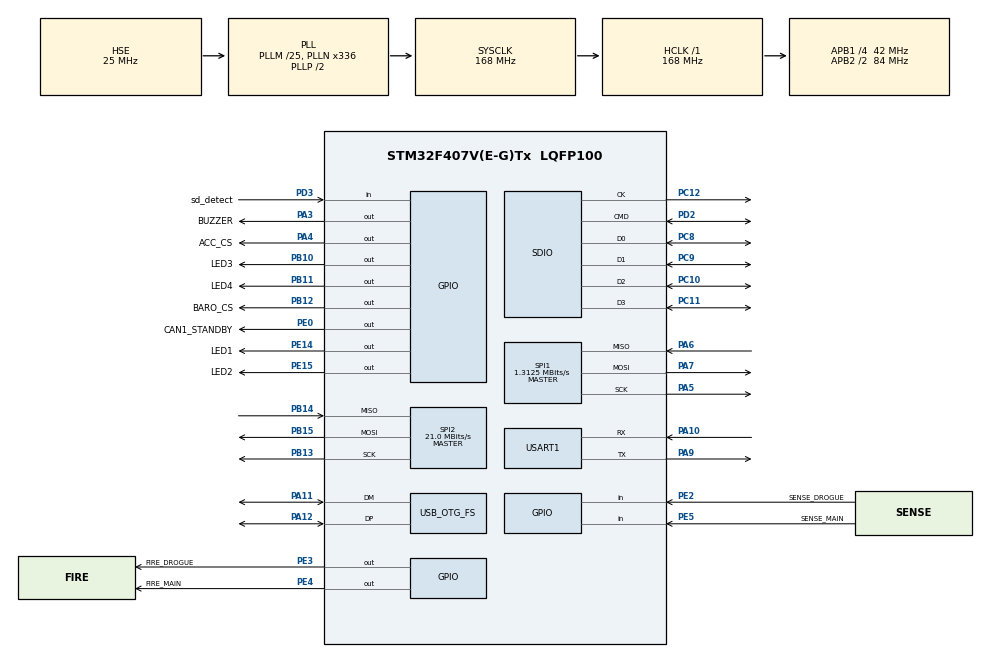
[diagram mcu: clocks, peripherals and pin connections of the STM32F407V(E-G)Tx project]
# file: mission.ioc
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Dma.Request0=SDIO_RX
Dma.Request1=SDIO_TX
Dma.SDIO_RX.0.Direction=DMA_PERIPH_TO_MEMORY
Dma.SDIO_RX.0.FIFOMode=DMA_FIFOMODE_ENABLE
Dma.SDIO_RX.0.FIFOThreshold=DMA_FIFO_THRESHOLD_FULL
Dma.SDIO_RX.0.Instance=DMA2_Stream3
Dma.SDIO_RX.0.MemBurst=DMA_MBURST_INC4
Dma.SDIO_RX.0.MemDataAlignment=DMA_MDATAALIGN_BYTE
Dma.SDIO_RX.0.MemInc=DMA_MINC_ENABLE
Dma.SDIO_RX.0.Mode=DMA_PFCTRL
Dma.SDIO_RX.0.PeriphBurst=DMA_PBURST_INC4
Dma.SDIO_RX.0.PeriphDataAlignment=DMA_PDATAALIGN_WORD
Dma.SDIO_RX.0.PeriphInc=DMA_PINC_DISABLE
Dma.SDIO_RX.0.Priority=DMA_PRIORITY_VERY_HIGH
Dma.SDIO_TX.1.Direction=DMA_MEMORY_TO_PERIPH
Dma.SDIO_TX.1.FIFOMode=DMA_FIFOMODE_ENABLE
Dma.SDIO_TX.1.FIFOThreshold=DMA_FIFO_THRESHOLD_FULL
Dma.SDIO_TX.1.Instance=DMA2_Stream6
Dma.SDIO_TX.1.MemBurst=DMA_MBURST_INC4
Dma.SDIO_TX.1.MemDataAlignment=DMA_MDATAALIGN_BYTE
Dma.SDIO_TX.1.MemInc=DMA_MINC_ENABLE
Dma.SDIO_TX.1.Mode=DMA_PFCTRL
Dma.SDIO_TX.1.PeriphBurst=DMA_PBURST_INC4
Dma.SDIO_TX.1.PeriphDataAlignment=DMA_PDATAALIGN_WORD
Dma.SDIO_TX.1.PeriphInc=DMA_PINC_DISABLE
Dma.SDIO_TX.1.Priority=DMA_PRIORITY_VERY_HIGH
FATFS.BSP.number=1
FATFS._MAX_SS=4096
FATFS._USE_ERASE=0
FATFS._USE_STRFUNC=1
FATFS0.BSP.STBoard=false
FATFS0.BSP.api=Unknown
FATFS0.BSP.i2caddr=0
FATFS0.BSP.instance=PD3
FATFS0.BSP.ip=GPIO
FATFS0.BSP.mode=Input
FATFS0.BSP.name=Detect_SDIO
FATFS0.BSP.solution=PD3
FREERTOS.INCLUDE_xQueueGetMutexHolder=0
FREERTOS.MEMORY_ALLOCATION=2
FREERTOS.Tasks01=defaultTask,0,128,StartDefaultTask,Default,NULL,Dynamic,NULL,NULL;app_canCommunic,0,128,tsk_canCommunication,As external,NULL,Dynamic,NULL,NULL;app_SD,0,1000,tsk_SD,As external,NULL,Dynamic,NULL,NULL;app_acc,0,128,task_acc,As external,NULL,Dynamic,NULL,NULL
FREERTOS.Timers01=transmitReg,canTransmitRegCallback,osTimerPeriodic,As external,NULL,Dynamic,NULL
FREERTOS.configCHECK_FOR_STACK_OVERFLOW=1
FREERTOS.configLIBRARY_MAX_SYSCALL_INTERRUPT_PRIORITY=5
FREERTOS.configUSE_MALLOC_FAILED_HOOK=1
FREERTOS.configUSE_TIMERS=1
Mcu.Family=STM32F4
Mcu.Name=STM32F407V(E-G)Tx
Mcu.Package=LQFP100
NVIC.DMA2_Stream3_IRQn=true\:5\:0\:false\:false\:true\:true\:false\:true
NVIC.DMA2_Stream6_IRQn=true\:5\:0\:false\:false\:true\:true\:false\:true
NVIC.OTG_FS_IRQn=true\:5\:0\:false\:false\:true\:true\:false\:true
NVIC.PriorityGroup=NVIC_PRIORITYGROUP_4
NVIC.SDIO_IRQn=true\:5\:0\:false\:false\:true\:true\:true\:true
NVIC.SPI1_IRQn=true\:5\:0\:false\:false\:true\:true\:true\:true
NVIC.TIM1_UP_TIM10_IRQn=true\:0\:0\:false\:false\:true\:false\:false\:true
NVIC.TimeBase=TIM1_UP_TIM10_IRQn
NVIC.TimeBaseIP=TIM1
PA10.Mode=Asynchronous
PA10.Signal=USART1_RX
PA11.Mode=Device_Only
PA11.Signal=USB_OTG_FS_DM
PA12.Mode=Device_Only
PA12.Signal=USB_OTG_FS_DP
PA13.Mode=Trace_Asynchronous_SW
PA13.Signal=SYS_JTMS-SWDIO
PA14.Mode=Trace_Asynchronous_SW
PA14.Signal=SYS_JTCK-SWCLK
PA3.GPIO_Label=BUZZER
PA3.Signal=GPIO_Output
PA4.GPIO_Label=ACC_CS
PA4.GPIO_Speed=GPIO_SPEED_FREQ_HIGH
PA4.PinState=GPIO_PIN_SET
PA4.Signal=GPIO_Output
PA5.Mode=Full_Duplex_Master
PA5.Signal=SPI1_SCK
PA6.Mode=Full_Duplex_Master
PA6.Signal=SPI1_MISO
PA7.Mode=Full_Duplex_Master
PA7.Signal=SPI1_MOSI
PA9.Mode=Asynchronous
PA9.Signal=USART1_TX
PB10.GPIO_Label=LED3
PB10.Signal=GPIO_Output
PB11.GPIO_Label=LED4
PB11.GPIO_PuPd=GPIO_PULLDOWN
PB11.Signal=GPIO_Output
PB12.GPIO_Label=BARO_CS
PB12.Signal=GPIO_Output
PB13.Mode=Full_Duplex_Master
PB13.Signal=SPI2_SCK
PB14.Mode=Full_Duplex_Master
PB14.Signal=SPI2_MISO
PB15.Mode=Full_Duplex_Master
PB15.Signal=SPI2_MOSI
PB3.Mode=Trace_Asynchronous_SW
PB3.Signal=SYS_JTDO-SWO
PC10.GPIO_PuPd=GPIO_PULLUP
PC10.Mode=SD_4_bits_Wide_bus
PC10.Signal=SDIO_D2
PC11.GPIO_PuPd=GPIO_PULLUP
PC11.Mode=SD_4_bits_Wide_bus
PC11.Signal=SDIO_D3
PC12.GPIO_PuPd=GPIO_PULLUP
PC12.Mode=SD_4_bits_Wide_bus
PC12.Signal=SDIO_CK
PC14-OSC32_IN.Mode=LSE-External-Oscillator
PC14-OSC32_IN.Signal=RCC_OSC32_IN
PC15-OSC32_OUT.Mode=LSE-External-Oscillator
PC15-OSC32_OUT.Signal=RCC_OSC32_OUT
PC8.GPIO_PuPd=GPIO_PULLUP
PC8.Mode=SD_4_bits_Wide_bus
PC8.Signal=SDIO_D0
PC9.GPIO_PuPd=GPIO_PULLUP
PC9.Mode=SD_4_bits_Wide_bus
PC9.Signal=SDIO_D1
PD2.GPIO_PuPd=GPIO_PULLUP
PD2.Mode=SD_4_bits_Wide_bus
PD2.Signal=SDIO_CMD
PD3.GPIO_Label=sd_detect
PD3.Signal=GPIO_Input
PE0.GPIO_Label=CAN1_STANDBY
PE0.Signal=GPIO_Output
PE14.GPIO_Label=LED1
PE14.GPIO_PuPd=GPIO_PULLDOWN
PE14.Signal=GPIO_Output
PE15.GPIO_Label=LED2
PE15.GPIO_PuPd=GPIO_PULLDOWN
PE15.Signal=GPIO_Output
PE2.GPIO_Label=SENSE_DROGUE
PE2.Signal=GPIO_Input
PE3.GPIO_Label=FIRE_DROGUE
PE3.Signal=GPIO_Output
PE4.GPIO_Label=FIRE_MAIN
PE4.Signal=GPIO_Output
PE5.GPIO_Label=SENSE_MAIN
PE5.Signal=GPIO_Input
PH0-OSC_IN.Mode=HSE-External-Clock-Source
PH0-OSC_IN.Signal=RCC_OSC_IN
PH1-OSC_OUT.Mode=HSE-External-Clock-Source
PH1-OSC_OUT.Signal=RCC_OSC_OUT
ProjectManager.HeapSize=0x200
ProjectManager.StackSize=0x400
ProjectManager.TargetToolchain=Makefile
RCC.48MHZClocksFreq_Value=48000000
RCC.AHBCLKDivider=RCC_SYSCLK_DIV1
RCC.AHBFreq_Value=168000000
RCC.APB1CLKDivider=RCC_HCLK_DIV4
RCC.APB1Freq_Value=42000000
RCC.APB1TimFreq_Value=84000000
RCC.APB2CLKDivider=RCC_HCLK_DIV2
RCC.APB2Freq_Value=84000000
RCC.APB2TimFreq_Value=168000000
RCC.CortexFreq_Value=168000000
RCC.Cortex_Div=SYSTICK_CLKSOURCE_HCLK
RCC.HCLKFreq_Value=168000000
RCC.HSE_VALUE=25000000
RCC.HSI_VALUE=16000000
RCC.PLLM=25
RCC.PLLN=336
RCC.PLLP=RCC_PLLP_DIV2
RCC.PLLQ=7
RCC.RCC_MCODiv1=RCC_MCODIV_1
RCC.RCC_MCODiv2=RCC_MCODIV_1
RCC.RCC_RTC_Clock_Source=RCC_RTCCLKSOURCE_LSE
RCC.RCC_RTC_Clock_SourceVirtual=RCC_RTCCLKSOURCE_LSE
RCC.RCC_RTC_Clock_Source_FROM_HSE=RCC_RTCCLKSOURCE_HSE_DIV2
RCC.SYSCLKFreq_VALUE=168000000
RCC.SYSCLKSource=RCC_SYSCLKSOURCE_PLLCLK
RCC.VCOOutputFreq_Value=336000000
RTC.Alarm=RTC_ALARM_A
SDIO.ClockBypass=SDIO_CLOCK_BYPASS_DISABLE
SDIO.ClockEdge=SDIO_CLOCK_EDGE_RISING
SDIO.ClockPowerSave=SDIO_CLOCK_POWER_SAVE_DISABLE
SDIO.HardwareFlowControl=SDIO_HARDWARE_FLOW_CONTROL_DISABLE
SDIO.WideMode=SDIO_BUS_WIDE_4B
SPI1.BaudRatePrescaler=SPI_BAUDRATEPRESCALER_64
SPI1.CLKPhase=SPI_PHASE_2EDGE
SPI1.CLKPolarity=SPI_POLARITY_HIGH
SPI1.CalculateBaudRate=1.3125 MBits/s
SPI1.Direction=SPI_DIRECTION_2LINES
SPI1.FirstBit=SPI_FIRSTBIT_MSB
SPI1.Mode=SPI_MODE_MASTER
SPI1.VirtualType=VM_MASTER
SPI2.CalculateBaudRate=21.0 MBits/s
SPI2.Direction=SPI_DIRECTION_2LINES
SPI2.Mode=SPI_MODE_MASTER
SPI2.VirtualType=VM_MASTER
USART1.VirtualMode=VM_ASYNC
USB_DEVICE.CLASS_NAME_FS=CDC
USB_DEVICE.VirtualMode-CDC_FS=Cdc
USB_DEVICE.VirtualModeFS=Cdc_FS
USB_OTG_FS.VirtualMode=Device_Only
VP_FATFS_VS_SDIO.Mode=SDIO
VP_FREERTOS_VS_CMSIS_V1.Mode=CMSIS_V1
VP_RTC_VS_RTC_Activate.Mode=RTC_Enabled
VP_RTC_VS_RTC_Alarm_A_Intern.Mode=Alarm A
VP_RTC_VS_RTC_Calendar.Mode=RTC_Calendar
VP_SYS_VS_tim1.Mode=TIM1
VP_USB_DEVICE_VS_USB_DEVICE_CDC_FS.Mode=CDC_FS
board=SGP_Project

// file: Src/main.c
/* USER CODE BEGIN Header */
/**
  ******************************************************************************
  * @file           : main.c
  * @brief          : Main program body
  ******************************************************************************
  * @attention
  *
  * <h2><center>&copy; Copyright (c) 2019 STMicroelectronics.
  * All rights reserved.</center></h2>
  *
  * This software component is licensed by ST under Ultimate Liberty license
  * SLA0044, the "License"; You may not use this file except in compliance with
  * the License. You may obtain a copy of the License at:
  *                             www.st.com/SLA0044
  *
  ******************************************************************************
  */
/* USER CODE END Header */

#include "main.h"
#include "cmsis_os.h"
#include "dma.h"
#include "fatfs.h"
#include "rtc.h"
#include "sdio.h"
#include "spi.h"
#include "usart.h"
#include "usb_device.h"
#include "gpio.h"

/* USER CODE BEGIN Includes */
#include "app_altitude.h"
#include "app_heartbeat.h"
#include "app_sd.h"
#include "app_buzzer.h"
#include "app_ejection.h"
#include "app_usb_serial.h"

#include "bsp_can.h"
/* USER CODE END Includes */

/* USER CODE BEGIN PV */
extern canInstance_t can1Instance;
/* USER CODE END PV */

void SystemClock_Config(void);
void MX_FREERTOS_Init(void);

/* USER CODE BEGIN 0 */

uint32_t can_canInit()
{
    //initialise IO's
    GPIO_InitTypeDef GPIO_InitStruct = {0};

    __HAL_RCC_GPIOB_CLK_ENABLE();

    /*Configure GPIO pins : PB8 PB9 */
    GPIO_InitStruct.Pin = GPIO_PIN_8 | GPIO_PIN_9;
    GPIO_InitStruct.Mode = GPIO_MODE_AF_PP;
    GPIO_InitStruct.Pull = GPIO_NOPULL;
    GPIO_InitStruct.Speed = GPIO_SPEED_FREQ_VERY_HIGH;
    GPIO_InitStruct.Alternate = GPIO_AF9_CAN1;
    HAL_GPIO_Init(GPIOB, &GPIO_InitStruct);

    can1Instance.instance = CAN1;
    can1Instance.debugFreeze = 0;
    can1Instance.opMode = normal;
    can1Instance.baudPrescaler = 3;
    can1Instance.timeQuanta1 = 14;
    can1Instance.timeQuanta2 = 11;
    can1Instance.timeReSync = 2;

    canInit(&can1Instance);
    //init interruption for fan 1 fifo 0
    can1Fifo0InitIt(&can1Instance);
    can1Fifo0RegisterCallback(can_regUpdateCallback);

    //init filters for boards

    canFilter_t filter = {0};

    filter.mask11.mask0 = BOARD_ID_MASK;
    filter.mask11.ID0 = BOARD_EMERGENCY_ID_SHIFTED;
    filter.mask11.mask1 = BOARD_ID_MASK;
    filter.mask11.ID1 = BOARD_MISSION_ID_SHIFTED;
    canSetFilter(&can1Instance, &filter,mask11Bit, 0, 0);

    filter.mask11.mask0 = BOARD_ID_MASK;
    filter.mask11.ID0 = BOARD_COMMUNICATION_ID_SHIFTED;
    filter.mask11.mask1 = BOARD_ID_MASK;
    filter.mask11.ID1 = BOARD_COMMUNICATION_ID_SHIFTED;
    canSetFilter(&can1Instance, &filter,mask11Bit, 1, 0);

    NVIC_SetPriority(20, 10);
    return 0;
}

/* USER CODE END 0 */

int main(void)
{

  /* MCU Configuration--------------------------------------------------------*/

  /* Reset of all peripherals, Initializes the Flash interface and the Systick. */
  HAL_Init();

  /* Configure the system clock */
  SystemClock_Config();

  /* Initialize all configured peripherals */
  MX_GPIO_Init();
  MX_DMA_Init();
  MX_RTC_Init();
  MX_SDIO_SD_Init();
  MX_SPI2_Init();
  MX_USART1_UART_Init();
  MX_SPI1_Init();
  /* USER CODE BEGIN 2 */

  //Init CAN Driver
  can_canInit();
  HAL_GPIO_WritePin(CAN1_STANDBY_GPIO_Port, CAN1_STANDBY_Pin, GPIO_PIN_RESET);

  app_heartbeat_init();
  app_altitude_init();
  ejectionTask_init();
  //app_sd_init();
  buzzerTask_init();
  /* USER CODE END 2 */

  /* Call init function for freertos objects (in freertos.c) */
  MX_FREERTOS_Init();

  /* Start scheduler */
  osKernelStart();

  /* We should never get here as control is now taken by the scheduler */

  /* Infinite loop */
  while (1)
  {

  }
}

void SystemClock_Config(void)
{
  RCC_OscInitTypeDef RCC_OscInitStruct = {0};
  RCC_ClkInitTypeDef RCC_ClkInitStruct = {0};
  RCC_PeriphCLKInitTypeDef PeriphClkInitStruct = {0};

  /** Configure the main internal regulator output voltage
  */
  __HAL_RCC_PWR_CLK_ENABLE();
  __HAL_PWR_VOLTAGESCALING_CONFIG(PWR_REGULATOR_VOLTAGE_SCALE1);
  /** Initializes the CPU, AHB and APB busses clocks
  */
  RCC_OscInitStruct.OscillatorType = RCC_OSCILLATORTYPE_HSE|RCC_OSCILLATORTYPE_LSE;
  RCC_OscInitStruct.HSEState = RCC_HSE_BYPASS;
  RCC_OscInitStruct.LSEState = RCC_LSE_ON;
  RCC_OscInitStruct.PLL.PLLState = RCC_PLL_ON;
  RCC_OscInitStruct.PLL.PLLSource = RCC_PLLSOURCE_HSE;
  RCC_OscInitStruct.PLL.PLLM = 25;
  RCC_OscInitStruct.PLL.PLLN = 336;
  RCC_OscInitStruct.PLL.PLLP = RCC_PLLP_DIV2;
  RCC_OscInitStruct.PLL.PLLQ = 7;
  if (HAL_RCC_OscConfig(&RCC_OscInitStruct) != HAL_OK)
  {
    Error_Handler();
  }
  /** Initializes the CPU, AHB and APB busses clocks
  */
  RCC_ClkInitStruct.ClockType = RCC_CLOCKTYPE_HCLK|RCC_CLOCKTYPE_SYSCLK
                              |RCC_CLOCKTYPE_PCLK1|RCC_CLOCKTYPE_PCLK2;
  RCC_ClkInitStruct.SYSCLKSource = RCC_SYSCLKSOURCE_PLLCLK;
  RCC_ClkInitStruct.AHBCLKDivider = RCC_SYSCLK_DIV1;
  RCC_ClkInitStruct.APB1CLKDivider = RCC_HCLK_DIV4;
  RCC_ClkInitStruct.APB2CLKDivider = RCC_HCLK_DIV2;

  if (HAL_RCC_ClockConfig(&RCC_ClkInitStruct, FLASH_LATENCY_5) != HAL_OK)
  {
    Error_Handler();
  }
  PeriphClkInitStruct.PeriphClockSelection = RCC_PERIPHCLK_RTC;
  PeriphClkInitStruct.RTCClockSelection = RCC_RTCCLKSOURCE_LSE;
  if (HAL_RCCEx_PeriphCLKConfig(&PeriphClkInitStruct) != HAL_OK)
  {
    Error_Handler();
  }
}

/* USER CODE BEGIN 4 */
void HAL_GPIO_EXTI_Callback(uint16_t GPIO_Pin)
{

//  if (GPIO_Pin == SD_DETECT_Pin) {
//    app_sd_detect_handler();
//  }

}
/* USER CODE END 4 */

void HAL_TIM_PeriodElapsedCallback(TIM_HandleTypeDef *htim)
{
  if (htim->Instance == TIM1) {
    HAL_IncTick();
  }
}

void Error_Handler(void)
{
}

/************************ (C) COPYRIGHT STMicroelectronics *****END OF FILE****/

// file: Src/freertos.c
/* USER CODE BEGIN Header */
/**
  ******************************************************************************
  * File Name          : freertos.c
  * Description        : Code for freertos applications
  ******************************************************************************
  * @attention
  *
  * <h2><center>&copy; Copyright (c) 2019 STMicroelectronics.
  * All rights reserved.</center></h2>
  *
  * This software component is licensed by ST under Ultimate Liberty license
  * SLA0044, the "License"; You may not use this file except in compliance with
  * the License. You may obtain a copy of the License at:
  *                             www.st.com/SLA0044
  *
  ******************************************************************************
  */
/* USER CODE END Header */

#include "FreeRTOS.h"
#include "task.h"
#include "main.h"
#include "cmsis_os.h"

/* USER CODE BEGIN Includes */
#include "app_buzzer.h"
#include "app_sd.h"
#include "app_acc.h"
#include "app_heartbeat.h"
/* USER CODE END Includes */

osThreadId defaultTaskHandle;
osThreadId app_canCommunicHandle;
osThreadId app_SDHandle;
osThreadId app_accHandle;
osTimerId transmitRegHandle;

void StartDefaultTask(void const * argument);
extern void tsk_canCommunication(void const * argument);
extern void tsk_SD(void const * argument);
extern void task_acc(void const * argument);
extern void canTransmitRegCallback(void const * argument);

extern void MX_FATFS_Init(void);
extern void MX_USB_DEVICE_Init(void);
void MX_FREERTOS_Init(void); /* (MISRA C 2004 rule 8.1) */

/* GetIdleTaskMemory prototype (linked to static allocation support) */
void vApplicationGetIdleTaskMemory( StaticTask_t **ppxIdleTaskTCBBuffer, StackType_t **ppxIdleTaskStackBuffer, uint32_t *pulIdleTaskStackSize );

/* GetTimerTaskMemory prototype (linked to static allocation support) */
void vApplicationGetTimerTaskMemory( StaticTask_t **ppxTimerTaskTCBBuffer, StackType_t **ppxTimerTaskStackBuffer, uint32_t *pulTimerTaskStackSize );

/* Hook prototypes */
void vApplicationStackOverflowHook(xTaskHandle xTask, signed char *pcTaskName);
void vApplicationMallocFailedHook(void);

/* USER CODE BEGIN 4 */
__weak void vApplicationStackOverflowHook(xTaskHandle xTask, signed char *pcTaskName)
{
   /* Run time stack overflow checking is performed if
   configCHECK_FOR_STACK_OVERFLOW is defined to 1 or 2. This hook function is
   called if a stack overflow is detected. */
}
/* USER CODE END 4 */

/* USER CODE BEGIN 5 */
__weak void vApplicationMallocFailedHook(void)
{
   /* vApplicationMallocFailedHook() will only be called if
   configUSE_MALLOC_FAILED_HOOK is set to 1 in FreeRTOSConfig.h. It is a hook
   function that will get called if a call to pvPortMalloc() fails.
   pvPortMalloc() is called internally by the kernel whenever a task, queue,
   timer or semaphore is created. It is also called by various parts of the
   demo application. If heap_1.c or heap_2.c are used, then the size of the
   heap available to pvPortMalloc() is defined by configTOTAL_HEAP_SIZE in
   FreeRTOSConfig.h, and the xPortGetFreeHeapSize() API function can be used
   to query the size of free heap space that remains (although it does not
   provide information on how the remaining heap might be fragmented). */
}
/* USER CODE END 5 */

/* USER CODE BEGIN GET_IDLE_TASK_MEMORY */
static StaticTask_t xIdleTaskTCBBuffer;
static StackType_t xIdleStack[configMINIMAL_STACK_SIZE];

void vApplicationGetIdleTaskMemory( StaticTask_t **ppxIdleTaskTCBBuffer, StackType_t **ppxIdleTaskStackBuffer, uint32_t *pulIdleTaskStackSize )
{
  *ppxIdleTaskTCBBuffer = &xIdleTaskTCBBuffer;
  *ppxIdleTaskStackBuffer = &xIdleStack[0];
  *pulIdleTaskStackSize = configMINIMAL_STACK_SIZE;
  /* place for user code */
}
/* USER CODE END GET_IDLE_TASK_MEMORY */

/* USER CODE BEGIN GET_TIMER_TASK_MEMORY */
static StaticTask_t xTimerTaskTCBBuffer;
static StackType_t xTimerStack[configTIMER_TASK_STACK_DEPTH];

void vApplicationGetTimerTaskMemory( StaticTask_t **ppxTimerTaskTCBBuffer, StackType_t **ppxTimerTaskStackBuffer, uint32_t *pulTimerTaskStackSize )
{
  *ppxTimerTaskTCBBuffer = &xTimerTaskTCBBuffer;
  *ppxTimerTaskStackBuffer = &xTimerStack[0];
  *pulTimerTaskStackSize = configTIMER_TASK_STACK_DEPTH;
  /* place for user code */
}
/* USER CODE END GET_TIMER_TASK_MEMORY */

void MX_FREERTOS_Init(void) {

  /* Create the timer(s) */
  /* definition and creation of transmitReg */
  osTimerDef(transmitReg, canTransmitRegCallback);
  transmitRegHandle = osTimerCreate(osTimer(transmitReg), osTimerPeriodic, NULL);

  /* Create the thread(s) */
  /* definition and creation of defaultTask */
  osThreadDef(defaultTask, StartDefaultTask, osPriorityNormal, 0, 128);
  defaultTaskHandle = osThreadCreate(osThread(defaultTask), NULL);

  /* definition and creation of app_canCommunic */
  osThreadDef(app_canCommunic, tsk_canCommunication, osPriorityNormal, 0, 128);
  app_canCommunicHandle = osThreadCreate(osThread(app_canCommunic), NULL);

  /* definition and creation of app_SD */
  osThreadDef(app_SD, tsk_SD, osPriorityNormal, 0, 1000);
  app_SDHandle = osThreadCreate(osThread(app_SD), NULL);

  /* definition and creation of app_acc */
  osThreadDef(app_acc, task_acc, osPriorityNormal, 0, 128);
  app_accHandle = osThreadCreate(osThread(app_acc), NULL);

}

void StartDefaultTask(void const * argument)
{
  /* init code for FATFS */
  MX_FATFS_Init();

  /* init code for USB_DEVICE */
  MX_USB_DEVICE_Init();

  /* USER CODE BEGIN StartDefaultTask */
  /* Infinite loop */
  for(;;)
  {
	  osDelay(5000);
	  /*
	  setBuzzerMode(BUZZER_IDLE);
	  osDelay(5000);
	  setBuzzerMode(BUZZER_SINGLETICK);
	  osDelay(5000);
	  setBuzzerMode(BUZZER_DOUBLETICK);
	  osDelay(5000);
	  setBuzzerMode(BUZZER_TRIPLETICK);
	  */
  }
  /* USER CODE END StartDefaultTask */
}

/************************ (C) COPYRIGHT STMicroelectronics *****END OF FILE****/
